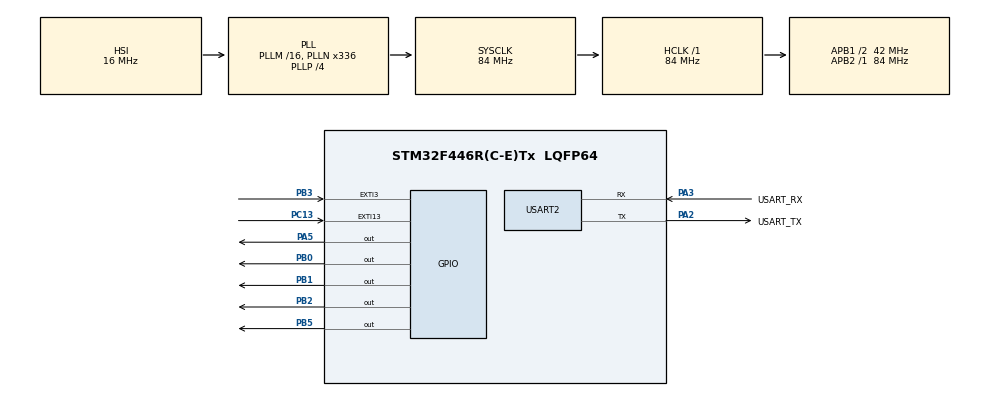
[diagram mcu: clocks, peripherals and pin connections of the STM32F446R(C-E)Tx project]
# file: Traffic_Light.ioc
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Mcu.Family=STM32F4
Mcu.Name=STM32F446R(C-E)Tx
Mcu.Package=LQFP64
NUCLEO-F446RE.BUTTON=1
NUCLEO-F446RE.LD1=true
NVIC.EXTI15_10_IRQn=true\:0\:0\:false\:false\:true\:false\:true\:true
NVIC.PriorityGroup=NVIC_PRIORITYGROUP_0
NVIC.TIM2_IRQn=true\:0\:0\:false\:false\:true\:true\:true\:true
PA13.GPIO_Label=TMS
PA13.Signal=SYS_JTMS-SWDIO
PA14.GPIO_Label=TCK
PA14.Signal=SYS_JTCK-SWCLK
PA2.GPIO_Label=USART_TX
PA2.Mode=Asynchronous
PA2.Signal=USART2_TX
PA3.GPIO_Label=USART_RX
PA3.Mode=Asynchronous
PA3.Signal=USART2_RX
PA5.Signal=GPIO_Output
PB0.Signal=GPIO_Output
PB1.Signal=GPIO_Output
PB2.Signal=GPIO_Output
PB3.Signal=GPXTI3
PB5.Signal=GPIO_Output
PC13.Signal=GPXTI13
PC14-OSC32_IN.Signal=RCC_OSC32_IN
PC15-OSC32_OUT.Signal=RCC_OSC32_OUT
PH0-OSC_IN.Signal=RCC_OSC_IN
PH1-OSC_OUT.Signal=RCC_OSC_OUT
ProjectManager.HeapSize=0x200
ProjectManager.StackSize=0x400
ProjectManager.TargetToolchain=STM32CubeIDE
RCC.AHBFreq_Value=84000000
RCC.APB1CLKDivider=RCC_HCLK_DIV2
RCC.APB1Freq_Value=42000000
RCC.APB1TimFreq_Value=84000000
RCC.APB2Freq_Value=84000000
RCC.APB2TimFreq_Value=84000000
RCC.CortexFreq_Value=84000000
RCC.FLatency-AdvancedSettings=FLASH_LATENCY_2
RCC.HCLKFreq_Value=84000000
RCC.HSE_VALUE=8000000
RCC.HSI_VALUE=16000000
RCC.LSE_VALUE=32768
RCC.PLLN=336
RCC.PLLP=RCC_PLLP_DIV4
RCC.SYSCLKFreq_VALUE=84000000
RCC.SYSCLKSource=RCC_SYSCLKSOURCE_PLLCLK
RCC.USBFreq_Value=168000000
RCC.VCOOutputFreq_Value=336000000
TIM2.Period=9999
TIM2.Prescaler=8399
USART2.VirtualMode=VM_ASYNC
VP_NUCLEO-F446RE_VS_BSP_COMMON.Mode=COMMON
VP_TIM2_VS_ClockSourceINT.Mode=Internal
board=NUCLEO-F446RE

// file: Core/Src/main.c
/* USER CODE BEGIN Header */
/**
  ******************************************************************************
  * @file           : main.c
  * @brief          : Main program body
  ******************************************************************************
  * @attention
  *
  * Copyright (c) 2026 STMicroelectronics.
  * All rights reserved.
  *
  * This software is licensed under terms that can be found in the LICENSE file
  * in the root directory of this software component.
  * If no LICENSE file comes with this software, it is provided AS-IS.
  *
  ******************************************************************************
  */
/* USER CODE END Header */
#include "main.h"

/* USER CODE BEGIN Includes */
#include <stdio.h>
/* USER CODE END Includes */

TIM_HandleTypeDef htim2;

UART_HandleTypeDef huart2;

/* USER CODE BEGIN PV */
typedef enum { CAR_GREEN, CAR_YELLOW, CAR_RED_WALK, CAR_RED_WALK_FLASH } TrafficState;
volatile TrafficState state = CAR_GREEN;
volatile uint32_t phase_seconds = 0;

volatile uint8_t ped_request = 0;
volatile uint32_t last_press_time = 0;

extern UART_HandleTypeDef huart2;

int _write(int file, char *ptr, int len)
{
    HAL_UART_Transmit(&huart2, (uint8_t*)ptr, len, HAL_MAX_DELAY);
    return len;
}
/* USER CODE END PV */

void SystemClock_Config(void);
static void MX_GPIO_Init(void);
static void MX_TIM2_Init(void);
static void MX_USART2_UART_Init(void);

int main(void)
{

  /* MCU Configuration--------------------------------------------------------*/

  /* Reset of all peripherals, Initializes the Flash interface and the Systick. */
  HAL_Init();

  /* Configure the system clock */
  SystemClock_Config();

  /* Initialize all configured peripherals */
  MX_GPIO_Init();
  MX_TIM2_Init();
  MX_USART2_UART_Init();
  /* USER CODE BEGIN 2 */
  HAL_TIM_Base_Start_IT(&htim2);

  void set_lights(uint8_t red, uint8_t yellow, uint8_t green, uint8_t walk) {
	  HAL_GPIO_WritePin(GPIOB, GPIO_PIN_0, red ? GPIO_PIN_SET : GPIO_PIN_RESET);
	  HAL_GPIO_WritePin(GPIOB, GPIO_PIN_1, yellow ? GPIO_PIN_SET : GPIO_PIN_RESET);
	  HAL_GPIO_WritePin(GPIOB, GPIO_PIN_2, green ? GPIO_PIN_SET : GPIO_PIN_RESET);
	  HAL_GPIO_WritePin(GPIOB, GPIO_PIN_3, walk ? GPIO_PIN_SET : GPIO_PIN_RESET);
  }
  /* USER CODE END 2 */

  /* Initialize leds */
  BSP_LED_Init(LED2);

  /* Initialize USER push-button, will be used to trigger an interrupt each time it's pressed.*/
  BSP_PB_Init(BUTTON_USER, BUTTON_MODE_EXTI);

  /* Infinite loop */
  /* USER CODE BEGIN WHILE */
  while (1)
  {
	  switch (state) {
	  case CAR_GREEN:
		  set_lights(0, 0, 1, 0);
		  if (ped_request && phase_seconds >= 2) {
			  state = CAR_YELLOW;
			  phase_seconds = 0;
			  ped_request = 0;
			  printf("t=%lu ms: -> CAR YELLOW\r\n", HAL_GetTick());
		  } else if (phase_seconds >= 12) {
			  state = CAR_YELLOW;
			  phase_seconds = 0;
			  printf("t=%lu ms: -> CAR YELLOW\r\n", HAL_GetTick());
		  }
		  break;
	  case CAR_YELLOW:
		  set_lights(0, 1, 0, 0);
		  if (phase_seconds >= 2) {
			  state = CAR_RED_WALK;
			  phase_seconds = 0;
			  printf("t=%lu ms: -> CAR_RED_WALK\r\n", HAL_GetTick());
		  }
		  break;
	  case CAR_RED_WALK:
		  set_lights(1, 0, 0, 1);
		  HAL_GPIO_WritePin(GPIOB, GPIO_PIN_5, GPIO_PIN_SET);
		  if (phase_seconds >= 5) {
			  state = CAR_RED_WALK_FLASH;
			  phase_seconds = 0;
			  printf("t=%lu ms: -> CAR_RED_WALK_FLASH\r\n", HAL_GetTick());
		  }
		  break;
	  case CAR_RED_WALK_FLASH:
		  set_lights(1, 0, 0, (phase_seconds % 2 == 0)); // flash walk LED
		  HAL_GPIO_WritePin(GPIOB, GPIO_PIN_5, (phase_seconds % 2 == 0) ? GPIO_PIN_SET : GPIO_PIN_RESET);
		  if (phase_seconds >= 3) {
			  state = CAR_GREEN;
			  phase_seconds = 0;
			  HAL_GPIO_WritePin(GPIOB, GPIO_PIN_5, GPIO_PIN_RESET);
			  printf("t=%lu ms: -> CAR_GREEN\r\n", HAL_GetTick());
		  }
		  break;
	  }
    /* USER CODE END WHILE */

  }
}

void SystemClock_Config(void)
{
  RCC_OscInitTypeDef RCC_OscInitStruct = {0};
  RCC_ClkInitTypeDef RCC_ClkInitStruct = {0};

  /** Configure the main internal regulator output voltage
  */
  __HAL_RCC_PWR_CLK_ENABLE();
  __HAL_PWR_VOLTAGESCALING_CONFIG(PWR_REGULATOR_VOLTAGE_SCALE3);

  /** Initializes the RCC Oscillators according to the specified parameters
  * in the RCC_OscInitTypeDef structure.
  */
  RCC_OscInitStruct.OscillatorType = RCC_OSCILLATORTYPE_HSI;
  RCC_OscInitStruct.HSIState = RCC_HSI_ON;
  RCC_OscInitStruct.HSICalibrationValue = RCC_HSICALIBRATION_DEFAULT;
  RCC_OscInitStruct.PLL.PLLState = RCC_PLL_ON;
  RCC_OscInitStruct.PLL.PLLSource = RCC_PLLSOURCE_HSI;
  RCC_OscInitStruct.PLL.PLLM = 16;
  RCC_OscInitStruct.PLL.PLLN = 336;
  RCC_OscInitStruct.PLL.PLLP = RCC_PLLP_DIV4;
  RCC_OscInitStruct.PLL.PLLQ = 2;
  RCC_OscInitStruct.PLL.PLLR = 2;
  if (HAL_RCC_OscConfig(&RCC_OscInitStruct) != HAL_OK)
  {
    Error_Handler();
  }

  /** Initializes the CPU, AHB and APB buses clocks
  */
  RCC_ClkInitStruct.ClockType = RCC_CLOCKTYPE_HCLK|RCC_CLOCKTYPE_SYSCLK
                              |RCC_CLOCKTYPE_PCLK1|RCC_CLOCKTYPE_PCLK2;
  RCC_ClkInitStruct.SYSCLKSource = RCC_SYSCLKSOURCE_PLLCLK;
  RCC_ClkInitStruct.AHBCLKDivider = RCC_SYSCLK_DIV1;
  RCC_ClkInitStruct.APB1CLKDivider = RCC_HCLK_DIV2;
  RCC_ClkInitStruct.APB2CLKDivider = RCC_HCLK_DIV1;

  if (HAL_RCC_ClockConfig(&RCC_ClkInitStruct, FLASH_LATENCY_2) != HAL_OK)
  {
    Error_Handler();
  }
}

static void MX_TIM2_Init(void)
{

  TIM_ClockConfigTypeDef sClockSourceConfig = {0};
  TIM_MasterConfigTypeDef sMasterConfig = {0};

  htim2.Instance = TIM2;
  htim2.Init.Prescaler = 8399;
  htim2.Init.CounterMode = TIM_COUNTERMODE_UP;
  htim2.Init.Period = 9999;
  htim2.Init.ClockDivision = TIM_CLOCKDIVISION_DIV1;
  htim2.Init.AutoReloadPreload = TIM_AUTORELOAD_PRELOAD_DISABLE;
  if (HAL_TIM_Base_Init(&htim2) != HAL_OK)
  {
    Error_Handler();
  }
  sClockSourceConfig.ClockSource = TIM_CLOCKSOURCE_INTERNAL;
  if (HAL_TIM_ConfigClockSource(&htim2, &sClockSourceConfig) != HAL_OK)
  {
    Error_Handler();
  }
  sMasterConfig.MasterOutputTrigger = TIM_TRGO_RESET;
  sMasterConfig.MasterSlaveMode = TIM_MASTERSLAVEMODE_DISABLE;
  if (HAL_TIMEx_MasterConfigSynchronization(&htim2, &sMasterConfig) != HAL_OK)
  {
    Error_Handler();
  }

}

static void MX_USART2_UART_Init(void)
{

  huart2.Instance = USART2;
  huart2.Init.BaudRate = 115200;
  huart2.Init.WordLength = UART_WORDLENGTH_8B;
  huart2.Init.StopBits = UART_STOPBITS_1;
  huart2.Init.Parity = UART_PARITY_NONE;
  huart2.Init.Mode = UART_MODE_TX_RX;
  huart2.Init.HwFlowCtl = UART_HWCONTROL_NONE;
  huart2.Init.OverSampling = UART_OVERSAMPLING_16;
  if (HAL_UART_Init(&huart2) != HAL_OK)
  {
    Error_Handler();
  }

}

static void MX_GPIO_Init(void)
{
  GPIO_InitTypeDef GPIO_InitStruct = {0};

  /* GPIO Ports Clock Enable */
  __HAL_RCC_GPIOC_CLK_ENABLE();
  __HAL_RCC_GPIOH_CLK_ENABLE();
  __HAL_RCC_GPIOA_CLK_ENABLE();
  __HAL_RCC_GPIOB_CLK_ENABLE();

  /*Configure GPIO pin Output Level */
  HAL_GPIO_WritePin(GPIOB, GPIO_PIN_0|GPIO_PIN_1|GPIO_PIN_2|GPIO_PIN_5, GPIO_PIN_RESET);

  /*Configure GPIO pins : PB0 PB1 PB2 PB5 */
  GPIO_InitStruct.Pin = GPIO_PIN_0|GPIO_PIN_1|GPIO_PIN_2|GPIO_PIN_5;
  GPIO_InitStruct.Mode = GPIO_MODE_OUTPUT_PP;
  GPIO_InitStruct.Pull = GPIO_NOPULL;
  GPIO_InitStruct.Speed = GPIO_SPEED_FREQ_LOW;
  HAL_GPIO_Init(GPIOB, &GPIO_InitStruct);

  /*Configure GPIO pin : PB3 */
  GPIO_InitStruct.Pin = GPIO_PIN_3;
  GPIO_InitStruct.Mode = GPIO_MODE_IT_RISING;
  GPIO_InitStruct.Pull = GPIO_NOPULL;
  HAL_GPIO_Init(GPIOB, &GPIO_InitStruct);

}

/* USER CODE BEGIN 4 */
	void HAL_TIM_PeriodElapsedCallback(TIM_HandleTypeDef *htim)
	{
		if (htim -> Instance == TIM2) {
			phase_seconds++;
		}

	}

	void HAL_GPIO_EXTI_Callback(uint16_t GPIO_Pin)
	{
		if (GPIO_Pin == GPIO_PIN_13) {
			uint32_t now = HAL_GetTick();
			if (now - last_press_time > 300) { // simple debounce
				ped_request = 1;
				last_press_time = now;
				printf("Pedestrian request received at t=%lu ms\r\n", now);
			}
		}
	}
/* USER CODE END 4 */

void Error_Handler(void)
{
  __disable_irq();
  while (1)
  {
  }
}
